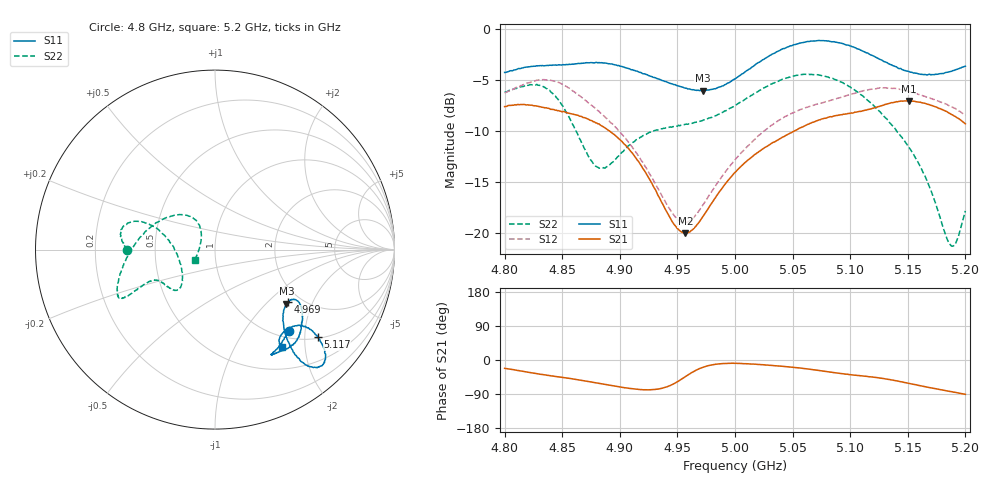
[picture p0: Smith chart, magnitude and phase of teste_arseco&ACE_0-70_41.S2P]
! Network Analyzer HP8722D
! Hewlett-Packard
! Data name: Linha & Wilkinson
! Saver's name: Rodrigo Anjos
! Comments: Teste da utilização de aquisição
! continua pelo VNA HP8722D
! Time and date: 8/5/2025 13:06
!  Frequency  S11  S21  S12  S22
# HZ  S  MA R 50
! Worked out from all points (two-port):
!   401 points, 4.8 GHz to 5.2 GHz, reference 50 ohm
!   highest |S21| = -7.04 dB at 5.151 GHz (marker M1); lowest = -20.0 dB at 4.957 GHz (marker M2)
!   |S21| within 3 dB of the highest: start of sweep to 4.892 GHz; 5.051 GHz to end of sweep
!   lowest |S11| = -6.0 dB at 4.972 GHz (marker M3), VSWR 2.99, Z = 82.9 - j66.5 ohm
!   |S11| at or under -10 dB: nowhere
!   |S22| runs from -21.3 to -4.4 dB; largest |S21 - S12| = 0.95
!   S11 on the Smith chart (normalised r, x): 4.8 GHz: 1.13, -1.65; 4.969 GHz: 1.71, -1.33; 5.117 GHz: 1.04, -2.32; 5.2 GHz: 0.82, -1.57
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4.8e9  0.613 -47.8  0.4167 -22.0  0.4862 -175.9  0.4925 -179.8
4.821e9  0.6532 -58.6  0.4239 -32.4  0.545 176.6  0.5307 171.5
4.837e9  0.6637 -61.6  0.4094 -40.5  0.5628 167.4  0.5096 163.2
4.851e9  0.6697 -60.0  0.3945 -46.2  0.5326 158.6  0.4156 159.1
4.867e9  0.6798 -55.0  0.3723 -53.8  0.462 150.7  0.2756 166.5
4.886e9  0.6818 -48.7  0.3304 -63.8  0.3757 144.0  0.209 -158.4
4.909e9  0.6363 -40.6  0.2531 -75.1  0.2717 137.8  0.2713 -133.6
4.934e9  0.5688 -33.0  0.1501 -76.3  0.162 141.0  0.3204 -135.5
4.957e9  0.5135 -32.7  0.09962 -43.6  0.1122 174.5  0.3413 -144.9
4.969e9  0.4995 -35.8  0.1132 -22.8  0.129 -164.9  0.3521 -149.7
4.972e9  0.4991 -37.1  0.1199 -19.3  0.1367 -161.2  0.3567 -150.8
5e9  0.57 -47.8  0.1981 -8.8  0.2284 -146.9  0.422 -154.0
5.039e9  0.7868 -52.5  0.2899 -16.0  0.3592 -148.0  0.5609 -152.0
5.067e9  0.8733 -48.4  0.3483 -25.2  0.4222 -154.5  0.5985 -155.1
5.095e9  0.8428 -43.4  0.3823 -37.0  0.4683 -162.4  0.5392 -166.5
5.117e9  0.7511 -40.4  0.4046 -44.2  0.5059 -172.5  0.4384 174.3
5.134e9  0.6745 -40.3  0.4321 -51.5  0.5135 177.3  0.3484 153.2
5.151e9  0.6194 -43.2  0.4447 -61.7  0.4952 167.6  0.2631 132.4
5.167e9  0.5959 -48.9  0.428 -71.7  0.4627 160.6  0.1787 122.5
5.187e9  0.6194 -54.9  0.3842 -83.3  0.4176 153.6  0.08728 158.3
5.192e9  0.6332 -55.6  0.3697 -85.8  0.4045 152.0  0.09005 -178.5
5.2e9  0.658 -55.7  0.3429 -90.6  0.3785 149.4  0.1281 -152.4
